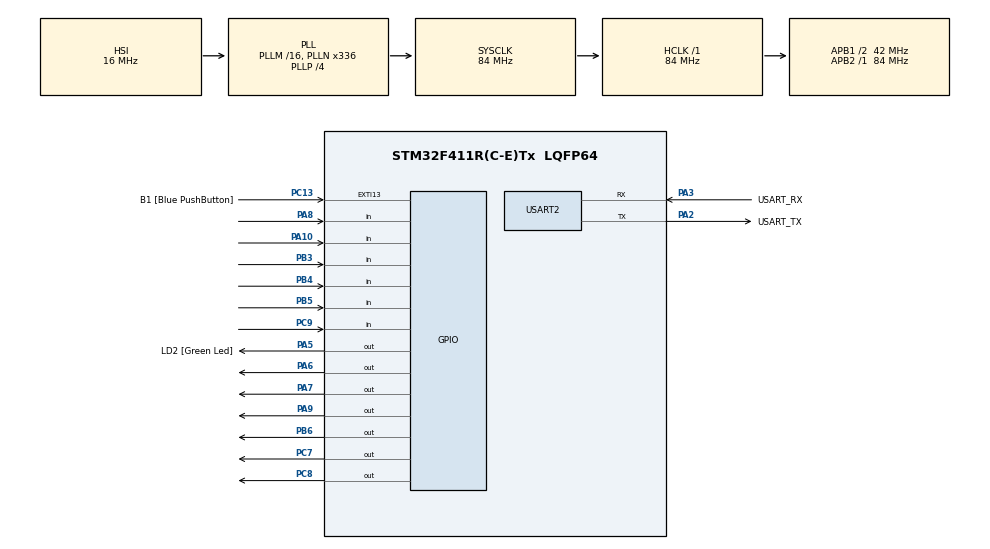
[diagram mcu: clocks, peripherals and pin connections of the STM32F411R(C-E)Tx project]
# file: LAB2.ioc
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Mcu.Family=STM32F4
RCC.CortexFreq_Value=84000000
PA10.GPIO_PuPd=GPIO_PULLUP
PA14.GPIO_Label=TCK
PA7.GPIO_ModeDefaultOutputPP=GPIO_MODE_OUTPUT_OD
PA5.PinState=GPIO_PIN_SET
RCC.SYSCLKSource=RCC_SYSCLKSOURCE_PLLCLK
ProjectManager.StackSize=0x400
PH0\ -\ OSC_IN.Signal=RCC_OSC_IN
PB4.GPIO_Mode=GPIO_MODE_INPUT
PA7.PinState=GPIO_PIN_SET
RCC.HCLKFreq_Value=84000000
RCC.APB2TimFreq_Value=84000000
PB6.Signal=GPIO_Output
PC7.Signal=GPIO_Output
RCC.AHBFreq_Value=84000000
RCC.HSE_VALUE=8000000
PC13-ANTI_TAMP.Signal=GPXTI13
PB3.GPIO_PuPd=GPIO_PULLUP
PC14-OSC32_IN.Mode=LSE-External-Oscillator
PA14.Mode=Serial_Wire
PC7.PinState=GPIO_PIN_SET
PA8.Signal=GPIO_Input
RCC.FLatency-AdvancedSettings=FLASH_LATENCY_2
Mcu.Package=LQFP64
PA6.Signal=GPIO_Output
USART2.VirtualMode=VM_ASYNC
PA2.GPIO_Label=USART_TX
PB6.GPIO_ModeDefaultOutputPP=GPIO_MODE_OUTPUT_OD
PA10.Signal=GPIO_Input
PA6.GPIO_ModeDefaultOutputPP=GPIO_MODE_OUTPUT_PP
RCC.APB1TimFreq_Value=84000000
PB4.Signal=GPIO_Input
PA3.Signal=USART2_RX
PB5.GPIO_Mode=GPIO_MODE_INPUT
PC15-OSC32_OUT.Mode=LSE-External-Oscillator
PC7.GPIO_ModeDefaultOutputPP=GPIO_MODE_OUTPUT_OD
PC13-ANTI_TAMP.GPIO_Label=B1 [Blue PushButton]
PC8.Signal=GPIO_Output
PH1\ -\ OSC_OUT.Mode=HSE-External-Clock-Source
RCC.APB1CLKDivider=RCC_HCLK_DIV2
PC14-OSC32_IN.Signal=RCC_OSC32_IN
PA10.GPIO_Mode=GPIO_MODE_INPUT
PA3.Mode=Asynchronous
PA13.Signal=SYS_JTMS-SWDIO
PH0\ -\ OSC_IN.Mode=HSE-External-Clock-Source
ProjectManager.TargetToolchain=STM32CubeIDE
PA9.Signal=GPIO_Output
PA9.PinState=GPIO_PIN_SET
PB4.GPIO_PuPd=GPIO_PULLUP
PC15-OSC32_OUT.Signal=RCC_OSC32_OUT
PA5.Signal=GPIO_Output
PH1\ -\ OSC_OUT.Signal=RCC_OSC_OUT
board=NUCLEO-F411RE
PC7.GPIO_Speed=GPIO_SPEED_FREQ_LOW
RCC.VCOOutputFreq_Value=336000000
PA7.GPIO_Speed=GPIO_SPEED_FREQ_LOW
RCC.APB2Freq_Value=84000000
PA5.GPIO_ModeDefaultOutputPP=GPIO_MODE_OUTPUT_OD
PB3.GPIO_Mode=GPIO_MODE_INPUT
PA13.Mode=Serial_Wire
Mcu.Name=STM32F411R(C-E)Tx
PA13.GPIO_Label=TMS
PA2.Signal=USART2_TX
RCC.48MHZClocksFreq_Value=84000000
PA9.GPIO_ModeDefaultOutputPP=GPIO_MODE_OUTPUT_OD
PB3.Signal=GPIO_Input
RCC.SYSCLKFreq_VALUE=84000000
PB5.Signal=GPIO_Input
PA5.GPIO_Label=LD2 [Green Led]
PB5.GPIO_PuPd=GPIO_PULLUP
PB6.PinState=GPIO_PIN_SET
PC13-ANTI_TAMP.GPIO_ModeDefaultEXTI=GPIO_MODE_IT_FALLING
PA14.Signal=SYS_JTCK-SWCLK
ProjectManager.HeapSize=0x200
RCC.HSI_VALUE=16000000
RCC.PLLP=RCC_PLLP_DIV4
PA5.GPIO_Speed=GPIO_SPEED_FREQ_LOW
NVIC.PriorityGroup=NVIC_PRIORITYGROUP_0
RCC.PLLN=336
PA2.Mode=Asynchronous
PA9.GPIO_Speed=GPIO_SPEED_FREQ_LOW
PC9.Signal=GPIO_Input
PB6.GPIO_Speed=GPIO_SPEED_FREQ_LOW
RCC.APB1Freq_Value=42000000
PA3.GPIO_Label=USART_RX
PA7.Signal=GPIO_Output

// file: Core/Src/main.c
/* USER CODE BEGIN Header */
/**
  ******************************************************************************
  * @file           : main.c
  * @brief          : Main program body
  ******************************************************************************
  * @attention
  *
  * <h2><center>&copy; Copyright (c) 2021 STMicroelectronics.
  * All rights reserved.</center></h2>
  *
  * This software component is licensed by ST under BSD 3-Clause license,
  * the "License"; You may not use this file except in compliance with the
  * License. You may obtain a copy of the License at:
  *                        opensource.org/licenses/BSD-3-Clause
  *
  ******************************************************************************
  */
/* USER CODE END Header */
#include "main.h"

UART_HandleTypeDef huart2;

/* USER CODE BEGIN PV */
//save status button matrix
uint16_t ButtonMatrixState =0;
uint32_t ButtonMatrixTimestamp =0;
uint32_t A = 0 ;
uint32_t x =0;
GPIO_PinState SwitchState[2];
uint32_t C[11];
uint32_t P = 0 ;
/* USER CODE END PV */

void SystemClock_Config(void);
static void MX_GPIO_Init(void);
static void MX_USART2_UART_Init(void);

int main(void)
{

  /* MCU Configuration--------------------------------------------------------*/

  /* Reset of all peripherals, Initializes the Flash interface and the Systick. */
  HAL_Init();

  /* Configure the system clock */
  SystemClock_Config();

  /* Initialize all configured peripherals */
  MX_GPIO_Init();
  MX_USART2_UART_Init();
  /* USER CODE BEGIN 2 */

  uint32_t BTimeStamp = 0;

  uint32_t B = 0 ;

  HAL_GPIO_WritePin(GPIOA, GPIO_PIN_6,GPIO_PIN_SET);

  /* USER CODE END 2 */

  /* Infinite loop */
  while (1)
  {

    /* USER CODE BEGIN 3 */
	  ButtonMatrixUpdate();

	  if(HAL_GetTick() - BTimeStamp >= 400)
	  {
		  BTimeStamp = HAL_GetTick();

		 if(ButtonMatrixState !=0 )
		 {
			 SwitchState[0] = 1;
		 }
		 else
		 {
			 SwitchState[0] = 0;
		 }

		 if(SwitchState[0] == GPIO_PIN_SET && SwitchState[1] == GPIO_PIN_RESET)
		 {
			 A = ButtonMatrixState;
			 if(A != 32768 && A != 8192 && A != 16384 && A != 128 && A != 2048 )
			 {	 if(C[10] != 0)
				 {
					 P = 1;
				 }
				 for( int z = 10; z > 0 ; z = z - 1 )
				 {	 B = C[z-1];
					 C[z] = B;
				 }

			 }
			 if(A == 1) //K1
			 {
				 x = 7;
				 C[0]=x;
			 }
			 else if(A== 2 ) //K2
			 {
				 x = 8;
				 C[0]=x;
			 }
			 else if(A == 4) //K3
			 {
				 x = 9;
				 C[0]=x;
			 }
			 else if(A == 8) //K4
			 {
				 for( int z = 10; z >= 0 ; z = z - 1 )
				 {
					 C[z] = 0;

				 }
				 P=0;
			 }
			 else if(A == 16) //K5
			 {
				 x = 4;
				 C[0]=x;
			 }
			 else if(A == 32) //K6
			 {
				 x = 5;
				 C[0]=x;
			 }
			 else if(A == 64) //K7
			 {
				 x = 6;
				 C[0]=x;
			 }
			 else if(A == 256) //K9
			 {
				 x = 1;
				 C[0]=x;
			 }
			 else if(A == 512) //K10
			 {
				 x = 2;
				 C[0]=x;
			 }
			 else if(A == 1024) //K11
			 {
				 x = 3;
				 C[0]=x;
			 }
			 else if(A == 4096) //K13
			 {
				 x = 0;
				 C[0]=x;
			 }
			 else if(A == 32768) //K16
			 {	 x = 123;
				 if(P == 0 && C[10] == 6 && C[9]== 2&&C[8]== 3&&C[7]== 4 &&C[6]==0 )
				 {	x = 234;
					 if(C[5]== 5 &&C[4]==0 &&C[3]==0 &&C[2]==0 &&C[1]== 4 && C[0]==6)
					 {	x = 345;
						HAL_GPIO_WritePin(GPIOA, GPIO_PIN_6,GPIO_PIN_RESET);
					 }
					 else
					 {
						 HAL_GPIO_WritePin(GPIOA, GPIO_PIN_6,GPIO_PIN_SET);
					 }
				 }
				 else
				 {
					 HAL_GPIO_WritePin(GPIOA, GPIO_PIN_6,GPIO_PIN_SET);
				 }
			 }

		 }

	  }

  }
  /* USER CODE END 3 */
}

void SystemClock_Config(void)
{
  RCC_OscInitTypeDef RCC_OscInitStruct = {0};
  RCC_ClkInitTypeDef RCC_ClkInitStruct = {0};

  /** Configure the main internal regulator output voltage
  */
  __HAL_RCC_PWR_CLK_ENABLE();
  __HAL_PWR_VOLTAGESCALING_CONFIG(PWR_REGULATOR_VOLTAGE_SCALE1);
  /** Initializes the RCC Oscillators according to the specified parameters
  * in the RCC_OscInitTypeDef structure.
  */
  RCC_OscInitStruct.OscillatorType = RCC_OSCILLATORTYPE_HSI;
  RCC_OscInitStruct.HSIState = RCC_HSI_ON;
  RCC_OscInitStruct.HSICalibrationValue = RCC_HSICALIBRATION_DEFAULT;
  RCC_OscInitStruct.PLL.PLLState = RCC_PLL_ON;
  RCC_OscInitStruct.PLL.PLLSource = RCC_PLLSOURCE_HSI;
  RCC_OscInitStruct.PLL.PLLM = 16;
  RCC_OscInitStruct.PLL.PLLN = 336;
  RCC_OscInitStruct.PLL.PLLP = RCC_PLLP_DIV4;
  RCC_OscInitStruct.PLL.PLLQ = 4;
  if (HAL_RCC_OscConfig(&RCC_OscInitStruct) != HAL_OK)
  {
    Error_Handler();
  }
  /** Initializes the CPU, AHB and APB buses clocks
  */
  RCC_ClkInitStruct.ClockType = RCC_CLOCKTYPE_HCLK|RCC_CLOCKTYPE_SYSCLK
                              |RCC_CLOCKTYPE_PCLK1|RCC_CLOCKTYPE_PCLK2;
  RCC_ClkInitStruct.SYSCLKSource = RCC_SYSCLKSOURCE_PLLCLK;
  RCC_ClkInitStruct.AHBCLKDivider = RCC_SYSCLK_DIV1;
  RCC_ClkInitStruct.APB1CLKDivider = RCC_HCLK_DIV2;
  RCC_ClkInitStruct.APB2CLKDivider = RCC_HCLK_DIV1;

  if (HAL_RCC_ClockConfig(&RCC_ClkInitStruct, FLASH_LATENCY_2) != HAL_OK)
  {
    Error_Handler();
  }
}

static void MX_USART2_UART_Init(void)
{

  huart2.Instance = USART2;
  huart2.Init.BaudRate = 115200;
  huart2.Init.WordLength = UART_WORDLENGTH_8B;
  huart2.Init.StopBits = UART_STOPBITS_1;
  huart2.Init.Parity = UART_PARITY_NONE;
  huart2.Init.Mode = UART_MODE_TX_RX;
  huart2.Init.HwFlowCtl = UART_HWCONTROL_NONE;
  huart2.Init.OverSampling = UART_OVERSAMPLING_16;
  if (HAL_UART_Init(&huart2) != HAL_OK)
  {
    Error_Handler();
  }

}

static void MX_GPIO_Init(void)
{
  GPIO_InitTypeDef GPIO_InitStruct = {0};

  /* GPIO Ports Clock Enable */
  __HAL_RCC_GPIOC_CLK_ENABLE();
  __HAL_RCC_GPIOH_CLK_ENABLE();
  __HAL_RCC_GPIOA_CLK_ENABLE();
  __HAL_RCC_GPIOB_CLK_ENABLE();

  /*Configure GPIO pin Output Level */
  HAL_GPIO_WritePin(GPIOA, LD2_Pin|GPIO_PIN_7|GPIO_PIN_9, GPIO_PIN_SET);

  /*Configure GPIO pin Output Level */
  HAL_GPIO_WritePin(GPIOA, GPIO_PIN_6, GPIO_PIN_RESET);

  /*Configure GPIO pin Output Level */
  HAL_GPIO_WritePin(GPIOC, GPIO_PIN_7, GPIO_PIN_SET);

  /*Configure GPIO pin Output Level */
  HAL_GPIO_WritePin(GPIOC, GPIO_PIN_8, GPIO_PIN_RESET);

  /*Configure GPIO pin Output Level */
  HAL_GPIO_WritePin(GPIOB, GPIO_PIN_6, GPIO_PIN_SET);

  /*Configure GPIO pin : B1_Pin */
  GPIO_InitStruct.Pin = B1_Pin;
  GPIO_InitStruct.Mode = GPIO_MODE_IT_FALLING;
  GPIO_InitStruct.Pull = GPIO_NOPULL;
  HAL_GPIO_Init(B1_GPIO_Port, &GPIO_InitStruct);

  /*Configure GPIO pins : LD2_Pin PA7 PA9 */
  GPIO_InitStruct.Pin = LD2_Pin|GPIO_PIN_7|GPIO_PIN_9;
  GPIO_InitStruct.Mode = GPIO_MODE_OUTPUT_OD;
  GPIO_InitStruct.Pull = GPIO_NOPULL;
  GPIO_InitStruct.Speed = GPIO_SPEED_FREQ_LOW;
  HAL_GPIO_Init(GPIOA, &GPIO_InitStruct);

  /*Configure GPIO pin : PA6 */
  GPIO_InitStruct.Pin = GPIO_PIN_6;
  GPIO_InitStruct.Mode = GPIO_MODE_OUTPUT_PP;
  GPIO_InitStruct.Pull = GPIO_NOPULL;
  GPIO_InitStruct.Speed = GPIO_SPEED_FREQ_LOW;
  HAL_GPIO_Init(GPIOA, &GPIO_InitStruct);

  /*Configure GPIO pin : PC7 */
  GPIO_InitStruct.Pin = GPIO_PIN_7;
  GPIO_InitStruct.Mode = GPIO_MODE_OUTPUT_OD;
  GPIO_InitStruct.Pull = GPIO_NOPULL;
  GPIO_InitStruct.Speed = GPIO_SPEED_FREQ_LOW;
  HAL_GPIO_Init(GPIOC, &GPIO_InitStruct);

  /*Configure GPIO pin : PC8 */
  GPIO_InitStruct.Pin = GPIO_PIN_8;
  GPIO_InitStruct.Mode = GPIO_MODE_OUTPUT_PP;
  GPIO_InitStruct.Pull = GPIO_NOPULL;
  GPIO_InitStruct.Speed = GPIO_SPEED_FREQ_LOW;
  HAL_GPIO_Init(GPIOC, &GPIO_InitStruct);

  /*Configure GPIO pin : PC9 */
  GPIO_InitStruct.Pin = GPIO_PIN_9;
  GPIO_InitStruct.Mode = GPIO_MODE_INPUT;
  GPIO_InitStruct.Pull = GPIO_NOPULL;
  HAL_GPIO_Init(GPIOC, &GPIO_InitStruct);

  /*Configure GPIO pin : PA8 */
  GPIO_InitStruct.Pin = GPIO_PIN_8;
  GPIO_InitStruct.Mode = GPIO_MODE_INPUT;
  GPIO_InitStruct.Pull = GPIO_NOPULL;
  HAL_GPIO_Init(GPIOA, &GPIO_InitStruct);

  /*Configure GPIO pin : PA10 */
  GPIO_InitStruct.Pin = GPIO_PIN_10;
  GPIO_InitStruct.Mode = GPIO_MODE_INPUT;
  GPIO_InitStruct.Pull = GPIO_PULLUP;
  HAL_GPIO_Init(GPIOA, &GPIO_InitStruct);

  /*Configure GPIO pins : PB3 PB4 PB5 */
  GPIO_InitStruct.Pin = GPIO_PIN_3|GPIO_PIN_4|GPIO_PIN_5;
  GPIO_InitStruct.Mode = GPIO_MODE_INPUT;
  GPIO_InitStruct.Pull = GPIO_PULLUP;
  HAL_GPIO_Init(GPIOB, &GPIO_InitStruct);

  /*Configure GPIO pin : PB6 */
  GPIO_InitStruct.Pin = GPIO_PIN_6;
  GPIO_InitStruct.Mode = GPIO_MODE_OUTPUT_OD;
  GPIO_InitStruct.Pull = GPIO_NOPULL;
  GPIO_InitStruct.Speed = GPIO_SPEED_FREQ_LOW;
  HAL_GPIO_Init(GPIOB, &GPIO_InitStruct);

}

/* USER CODE BEGIN 4 */
GPIO_TypeDef* ButtonMatrixProt[8]=
{GPIOA,GPIOB,GPIOB,GPIOB,GPIOA,GPIOC,GPIOB,GPIOA};

uint16_t ButtonMatrixPin[8] =
{GPIO_PIN_10,GPIO_PIN_3,GPIO_PIN_5,GPIO_PIN_4,GPIO_PIN_9,GPIO_PIN_7,GPIO_PIN_6,GPIO_PIN_7};

uint8_t ButtonMatrixRow =0;

void ButtonMatrixUpdate()
{
	if(HAL_GetTick()-ButtonMatrixTimestamp >= 100)
	{
		ButtonMatrixTimestamp = HAL_GetTick();
		int i;
		for(i = 0;i<4;++i)
		{
			GPIO_PinState PinState = HAL_GPIO_ReadPin(ButtonMatrixProt[i],ButtonMatrixPin[i]);
			if(PinState == GPIO_PIN_RESET)
			{
				ButtonMatrixState |= (uint16_t)0x1 <<(i+ButtonMatrixRow*4);
			}
			else
			{
				ButtonMatrixState &= ~((uint16_t)0x1 <<(i+ButtonMatrixRow*4));
			}
		}
		uint8_t NowOutputPin = ButtonMatrixRow+4;
		HAL_GPIO_WritePin(ButtonMatrixProt[NowOutputPin],
				ButtonMatrixPin[NowOutputPin], GPIO_PIN_SET);
		ButtonMatrixRow = (ButtonMatrixRow+1)%4;
		uint8_t NextOutputPin = ButtonMatrixRow+4;
		HAL_GPIO_WritePin(ButtonMatrixProt[NextOutputPin],
				ButtonMatrixPin[NextOutputPin], GPIO_PIN_RESET);

	}
}
/* USER CODE END 4 */

void Error_Handler(void)
{
  __disable_irq();
  while (1)
  {
  }
}

/************************ (C) COPYRIGHT STMicroelectronics *****END OF FILE****/
